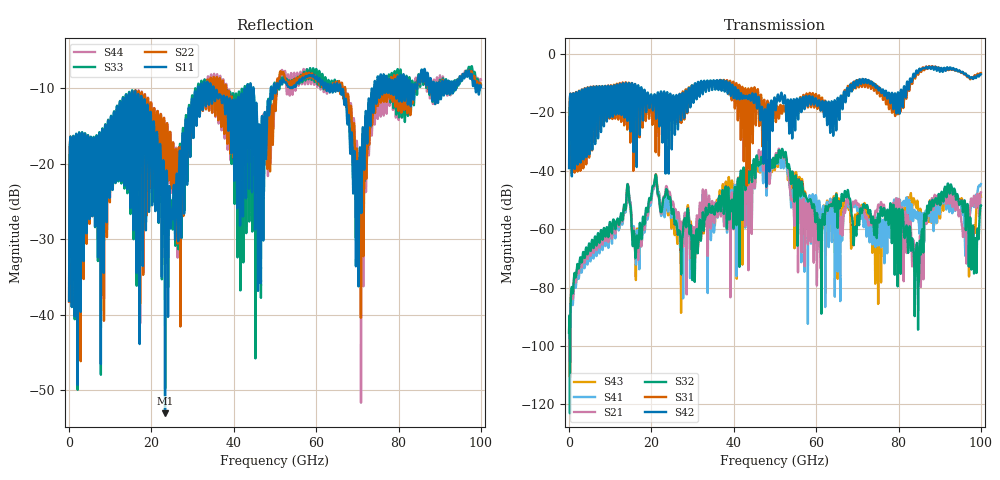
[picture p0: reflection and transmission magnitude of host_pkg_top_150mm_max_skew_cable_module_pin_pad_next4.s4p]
# Hz S RI R 50
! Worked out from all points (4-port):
!   10000 points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, 10 MHz to 100 GHz, reference 50 ohm
!   strongest paths, dB at 10 MHz, 25.01 GHz, 50.01 GHz, 75.01 GHz, 100 GHz:
!     S42: -39.1, -23.6, -16.0, -11.7, -6.9
!     S31: -39.0, -21.3, -20.4, -11.8, -6.5
!     S32: -95.5, -54.5, -38.2, -54.7, -51.9
!     S21: -95.4, -51.2, -35.9, -51.9, -47.3
!     S41: -95.4, -54.0, -37.7, -61.1, -44.6
!     S43: -95.4, -57.8, -39.3, -72.7, -48.8
!   lowest |S11| = -53.1 dB at 23.3 GHz (marker M1), VSWR 1.00, Z = 50.1 - j0.215 ohm
!   |S11| at or under -10 dB: start of sweep to 31.26 GHz; 35.13 GHz to 43.23 GHz (8.103 GHz wide, 20.7 % of centre); 65.94 GHz to 74.1 GHz (8.154 GHz wide, 11.6 % of centre)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
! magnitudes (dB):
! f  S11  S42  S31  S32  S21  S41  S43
! 10 MHz  -38.2  -39.1  -39.0  -95.5  -95.4  -95.4  -95.4
! 23.3 GHz  -53.1  -17.4  -20.5  -48.7  -48.2  -53.7  -54.5
! 30.23 GHz  -15.4  -16.1  -14.3  -62.1  -60.1  -63.0  -61.3
! 52.1 GHz  -8.9  -16.6  -17.7  -34.9  -35.8  -39.2  -36.0
! 60.64 GHz  -8.8  -16.0  -14.2  -61.8  -60.0  -50.3  -52.4
! 84.29 GHz  -9.8  -5.9  -6.6  -67.0  -65.5  -56.1  -52.4
! 100 GHz  -9.9  -6.9  -6.5  -51.9  -47.3  -44.6  -48.8
